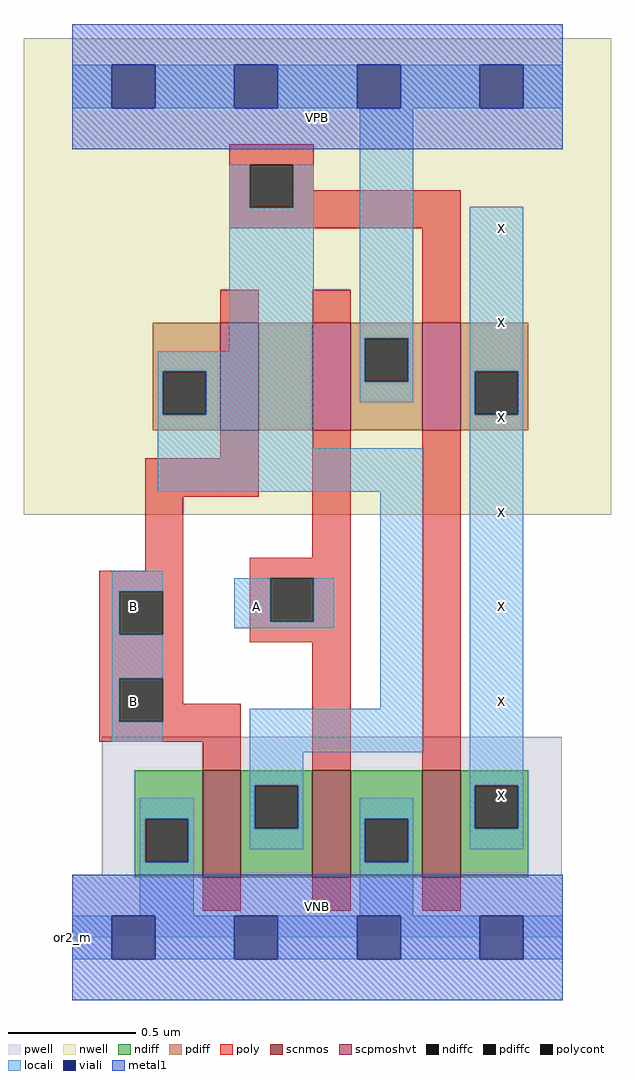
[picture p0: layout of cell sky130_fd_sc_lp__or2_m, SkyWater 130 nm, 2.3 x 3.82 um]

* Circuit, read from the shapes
.subckt sky130_fd_sc_lp__or2_m A B VGND VNB VPB VPWR X
XM1 n1 B VGND VNB sky130_fd_pr__nfet_01v8 w=0.42 l=0.15
XM2 VGND A n1 VNB sky130_fd_pr__nfet_01v8 w=0.42 l=0.15
XM3 X n1 VGND VNB sky130_fd_pr__nfet_01v8 w=0.42 l=0.15
XM4 n2 B n1 VPB sky130_fd_pr__pfet_01v8_hvt w=0.42 l=0.15
XM5 VPWR A n2 VPB sky130_fd_pr__pfet_01v8_hvt w=0.42 l=0.15
XM6 X n1 VPWR VPB sky130_fd_pr__pfet_01v8_hvt w=0.42 l=0.15
.ends

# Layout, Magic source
magic
tech sky130A
magscale 1 2
<< nwell >>
rect -38 331 422 704
<< pwell >>
rect 23 49 383 157
rect 0 0 384 49
<< scnmos >>
rect 102 47 132 131
rect 188 47 218 131
rect 274 47 304 131
<< scpmoshvt >>
rect 116 397 146 481
rect 188 397 218 481
rect 274 397 304 481
<< ndiff >>
rect 49 93 102 131
rect 49 59 57 93
rect 91 59 102 93
rect 49 47 102 59
rect 132 119 188 131
rect 132 85 143 119
rect 177 85 188 119
rect 132 47 188 85
rect 218 93 274 131
rect 218 59 229 93
rect 263 59 274 93
rect 218 47 274 59
rect 304 119 357 131
rect 304 85 315 119
rect 349 85 357 119
rect 304 47 357 85
<< pdiff >>
rect 63 443 116 481
rect 63 409 71 443
rect 105 409 116 443
rect 63 397 116 409
rect 146 397 188 481
rect 218 469 274 481
rect 218 435 229 469
rect 263 435 274 469
rect 218 397 274 435
rect 304 443 357 481
rect 304 409 315 443
rect 349 409 357 443
rect 304 397 357 409
<< ndiffc >>
rect 57 59 91 93
rect 143 85 177 119
rect 229 59 263 93
rect 315 85 349 119
<< pdiffc >>
rect 71 409 105 443
rect 229 435 263 469
rect 315 409 349 443
<< poly >>
rect 123 605 189 621
rect 123 571 139 605
rect 173 585 189 605
rect 173 571 304 585
rect 123 555 304 571
rect 116 481 146 507
rect 188 481 218 507
rect 274 481 304 555
rect 116 375 146 397
rect 57 345 146 375
rect 57 287 87 345
rect 188 297 218 397
rect 21 271 87 287
rect 21 237 37 271
rect 71 237 87 271
rect 21 203 87 237
rect 139 281 218 297
rect 139 247 155 281
rect 189 247 218 281
rect 139 231 218 247
rect 21 169 37 203
rect 71 183 87 203
rect 71 169 132 183
rect 21 153 132 169
rect 102 131 132 153
rect 188 131 218 231
rect 274 131 304 397
rect 102 21 132 47
rect 188 21 218 47
rect 274 21 304 47
<< polycont >>
rect 139 571 173 605
rect 37 237 71 271
rect 155 247 189 281
rect 37 169 71 203
<< locali >>
rect 0 649 31 683
rect 65 649 127 683
rect 161 649 223 683
rect 257 649 319 683
rect 353 649 384 683
rect 123 571 139 605
rect 173 571 189 605
rect 123 459 189 571
rect 67 443 189 459
rect 67 409 71 443
rect 105 409 189 443
rect 225 469 267 649
rect 225 435 229 469
rect 263 435 267 469
rect 225 419 267 435
rect 311 443 353 572
rect 67 383 189 409
rect 311 409 315 443
rect 349 409 353 443
rect 67 349 275 383
rect 31 271 71 287
rect 31 237 37 271
rect 127 247 155 281
rect 189 247 205 281
rect 127 242 205 247
rect 31 203 71 237
rect 31 169 37 203
rect 241 179 275 349
rect 31 153 71 169
rect 139 145 275 179
rect 139 119 181 145
rect 53 93 95 109
rect 53 59 57 93
rect 91 59 95 93
rect 139 85 143 119
rect 177 85 181 119
rect 311 119 353 409
rect 139 69 181 85
rect 225 93 267 109
rect 53 17 95 59
rect 225 59 229 93
rect 263 59 267 93
rect 311 85 315 119
rect 349 85 353 119
rect 311 69 353 85
rect 225 17 267 59
rect 0 -17 31 17
rect 65 -17 127 17
rect 161 -17 223 17
rect 257 -17 319 17
rect 353 -17 384 17
<< viali >>
rect 31 649 65 683
rect 127 649 161 683
rect 223 649 257 683
rect 319 649 353 683
rect 31 -17 65 17
rect 127 -17 161 17
rect 223 -17 257 17
rect 319 -17 353 17
<< metal1 >>
rect 0 683 384 715
rect 0 649 31 683
rect 65 649 127 683
rect 161 649 223 683
rect 257 649 319 683
rect 353 649 384 683
rect 0 617 384 649
rect 0 17 384 49
rect 0 -17 31 17
rect 65 -17 127 17
rect 161 -17 223 17
rect 257 -17 319 17
rect 353 -17 384 17
rect 0 -49 384 -17
<< labels >>
flabel pwell s 0 0 384 49 0 FreeSans 200 0 0 0 VNB
port 4 nsew ground bidirectional
flabel nwell s 0 617 384 666 0 FreeSans 200 0 0 0 VPB
port 5 nsew power bidirectional
rlabel comment s 0 0 0 0 4 or2_m
flabel metal1 s 0 617 384 666 0 FreeSans 340 0 0 0 VPWR
port 6 nsew power bidirectional
flabel metal1 s 0 0 384 49 0 FreeSans 340 0 0 0 VGND
port 3 nsew ground bidirectional
flabel locali s 127 242 161 276 0 FreeSans 340 0 0 0 A
port 1 nsew signal input
flabel locali s 31 168 65 202 0 FreeSans 340 0 0 0 B
port 2 nsew signal input
flabel locali s 31 242 65 276 0 FreeSans 340 0 0 0 B
port 2 nsew signal input
flabel locali s 319 94 353 128 0 FreeSans 340 0 0 0 X
port 7 nsew signal output
flabel locali s 319 168 353 202 0 FreeSans 340 0 0 0 X
port 7 nsew signal output
flabel locali s 319 242 353 276 0 FreeSans 340 0 0 0 X
port 7 nsew signal output
flabel locali s 319 316 353 350 0 FreeSans 340 0 0 0 X
port 7 nsew signal output
flabel locali s 319 390 353 424 0 FreeSans 340 0 0 0 X
port 7 nsew signal output
flabel locali s 319 464 353 498 0 FreeSans 340 0 0 0 X
port 7 nsew signal output
flabel locali s 319 538 353 572 0 FreeSans 340 0 0 0 X
port 7 nsew signal output
<< properties >>
string LEFsite unit
string LEFclass CORE
string FIXED_BBOX 0 0 384 666
string GDS_FILE $PDKPATH/libs.ref/sky130_fd_sc_lp/gds/sky130_fd_sc_lp.gds
string LEFsymmetry X Y R90
string GDS_END 6165684
string GDS_START 6160860
<< end >>
